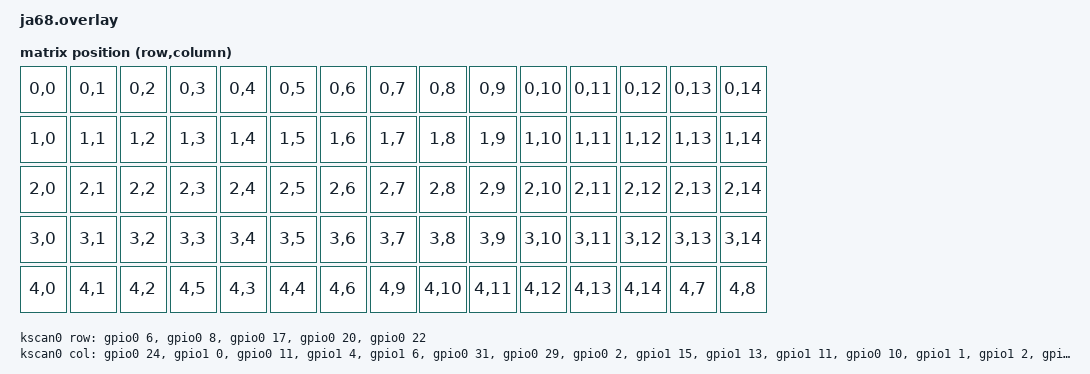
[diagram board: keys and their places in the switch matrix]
#include <dt-bindings/zmk/matrix_transform.h>

/ {
  chosen {
    zmk,kscan = &kscan0;
    zmk,matrix_transform = &mt;
  };

  kscan0: kscan {
    compatible = "zmk,kscan-gpio-matrix";

    debounce-press-ms = <5>;
    debounce-release-ms = <5>;

    /* Your diodes require this */
    diode-direction = "row2col";

    row-gpios = <
      &gpio0 6  (GPIO_ACTIVE_LOW | GPIO_PULL_UP)  /* R0 */
      &gpio0 8  (GPIO_ACTIVE_LOW | GPIO_PULL_UP)  /* R1 */
      &gpio0 17 (GPIO_ACTIVE_LOW | GPIO_PULL_UP)  /* R2 */
      &gpio0 20 (GPIO_ACTIVE_LOW | GPIO_PULL_UP)  /* R3 */
      &gpio0 22 (GPIO_ACTIVE_LOW | GPIO_PULL_UP)  /* R4 */
    >;

    col-gpios = <
      &gpio0 24 (GPIO_ACTIVE_LOW | GPIO_PULL_UP)  /* C0  */
      &gpio1 0  (GPIO_ACTIVE_LOW | GPIO_PULL_UP)  /* C1  */
      &gpio0 11 (GPIO_ACTIVE_LOW | GPIO_PULL_UP)  /* C2  */
      &gpio1 4  (GPIO_ACTIVE_LOW | GPIO_PULL_UP)  /* C3  */
      &gpio1 6  (GPIO_ACTIVE_LOW | GPIO_PULL_UP)  /* C4  */
      &gpio0 31 (GPIO_ACTIVE_LOW | GPIO_PULL_UP)  /* C5  */
      &gpio0 29 (GPIO_ACTIVE_LOW | GPIO_PULL_UP)  /* C6  */
      &gpio0 2  (GPIO_ACTIVE_LOW | GPIO_PULL_UP)  /* C7  */
      &gpio1 15 (GPIO_ACTIVE_LOW | GPIO_PULL_UP)  /* C8  */
      &gpio1 13 (GPIO_ACTIVE_LOW | GPIO_PULL_UP)  /* C9  */
      &gpio1 11 (GPIO_ACTIVE_LOW | GPIO_PULL_UP)  /* C10 */
      &gpio0 10 (GPIO_ACTIVE_LOW | GPIO_PULL_UP)  /* C11 (NFC pin) */
      &gpio1 1  (GPIO_ACTIVE_LOW | GPIO_PULL_UP)  /* C12 */
      &gpio1 2  (GPIO_ACTIVE_LOW | GPIO_PULL_UP)  /* C13 */
      &gpio1 7  (GPIO_ACTIVE_LOW | GPIO_PULL_UP)  /* C14 */
    >;
  };

  mt: matrix_transform {
    compatible = "zmk,matrix-transform";
    rows = <5>;
    columns = <15>;

    map = <
      /* Row 0 */
      RC(0,0)  RC(0,1)  RC(0,2)  RC(0,3)  RC(0,4)  RC(0,5)  RC(0,6)  RC(0,7)  RC(0,8)  RC(0,9)  RC(0,10) RC(0,11) RC(0,12) RC(0,13) RC(0,14)

      /* Row 1 */
      RC(1,0)  RC(1,1)  RC(1,2)  RC(1,3)  RC(1,4)  RC(1,5)  RC(1,6)  RC(1,7)  RC(1,8)  RC(1,9)  RC(1,10) RC(1,11) RC(1,12) RC(1,13) RC(1,14)

      /* Row 2 */
      RC(2,0)  RC(2,1)  RC(2,2)  RC(2,3)  RC(2,4)  RC(2,5)  RC(2,6)  RC(2,7)  RC(2,8)  RC(2,9)  RC(2,10) RC(2,11) RC(2,12) RC(2,13) RC(2,14)

      /* Row 3 */
      RC(3,0)  RC(3,1)  RC(3,2)  RC(3,3)  RC(3,4)  RC(3,5)  RC(3,6)  RC(3,7)  RC(3,8)  RC(3,9)  RC(3,10) RC(3,11) RC(3,12) RC(3,13) RC(3,14)

      /*
       * Row 4 (BOTTOM ROW) – corrected, no duplicate electrical columns.
       *
       * Logical key positions in your KEYMAP row 4:
       *  [0]=LCtrl [1]=LGui [2]=LAlt [3]=Space [4]=none [5]=none [6]=none
       *  [7]=RAlt  [8]=Fn   [9]=RCtrl [10]=Left [11]=Down [12]=Right [13]=none [14]=none
       *
       * Your wiring truth (per your diagram + your statement):
       *  Space is on electrical column 5 (0-indexed) -> RC(4,5)
       *  The right cluster starts at electrical col 9 -> RAlt=9, Fn=10, RCtrl=11, Left=12, Down=13, Right=14
       *
       * That leaves electrical cols 3,4,6,7,8 unused on row 4, which we assign to the logical "none" slots.
       */
      RC(4,0)  RC(4,1)  RC(4,2)  RC(4,5)  RC(4,3)  RC(4,4)  RC(4,6)  RC(4,9)  RC(4,10) RC(4,11) RC(4,12) RC(4,13) RC(4,14) RC(4,7)  RC(4,8)
    >;
  };
};
